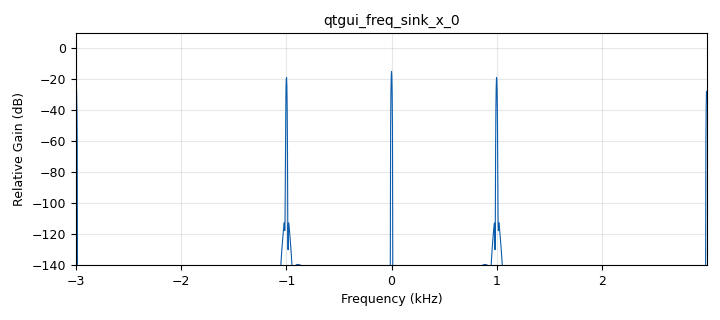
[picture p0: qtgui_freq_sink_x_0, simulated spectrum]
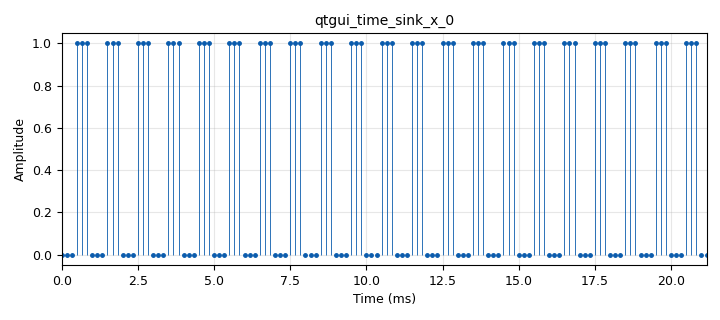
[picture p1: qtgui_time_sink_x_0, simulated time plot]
options:
  parameters:
    author: Mauricio_Ortiz_Victor_Muñoz_J1B_G1
    generate_options: qt_gui
    id: Lab1_punto2
    output_language: python
    title: Lab1_punto2_muestreo
  states: {}

blocks:
- name: Freq
  id: variable_qtgui_range
  parameters:
    label: Frequency
    start: '1000'
    step: '1000'
    stop: '40000'
    value: '1000'
  states: {}
- name: samp_rate
  id: variable_qtgui_range
  parameters:
    label: FRECUENCIA DE MUESTREO
    start: '1000'
    step: '1000'
    stop: '80000'
    value: '6000'
  states: {}
- name: analog_sig_source_x_0
  id: analog_sig_source_x
  parameters:
    amp: '1'
    freq: Freq
    offset: '0'
    phase: '0'
    samp_rate: samp_rate
    type: float
    waveform: analog.GR_SQR_WAVE
  states: {}
- name: blocks_throttle_0
  id: blocks_throttle
  parameters:
    samples_per_second: samp_rate
    type: float
  states: {}
- name: qtgui_freq_sink_x_0
  id: qtgui_freq_sink_x
  parameters:
    bw: samp_rate
    fc: '0'
    fftsize: '2048'
    type: float
  states: {}
- name: qtgui_time_sink_x_0
  id: qtgui_time_sink_x
  parameters:
    autoscale: 'True'
    size: '128'
    srate: samp_rate
    stemplot: 'True'
    type: float
  states: {}

connections:
- [analog_sig_source_x_0, '0', blocks_throttle_0, '0']
- [blocks_throttle_0, '0', qtgui_freq_sink_x_0, '0']
- [blocks_throttle_0, '0', qtgui_time_sink_x_0, '0']

metadata:
  file_format: 1
